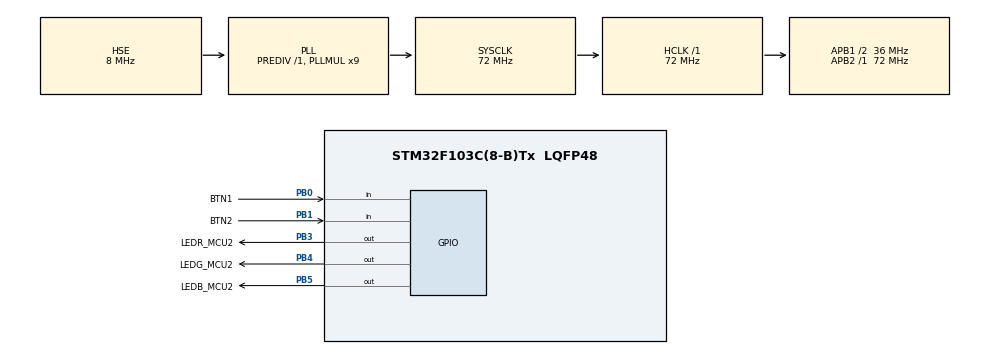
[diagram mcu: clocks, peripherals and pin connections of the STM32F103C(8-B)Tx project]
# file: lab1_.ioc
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Mcu.Family=STM32F1
Mcu.Name=STM32F103C(8-B)Tx
Mcu.Package=LQFP48
NVIC.PriorityGroup=NVIC_PRIORITYGROUP_4
NVIC.TIM3_IRQn=true\:0\:0\:false\:false\:true\:true\:true\:true
PA13.Mode=Serial_Wire
PA13.Signal=SYS_JTMS-SWDIO
PA14.Mode=Serial_Wire
PA14.Signal=SYS_JTCK-SWCLK
PB0.GPIO_Label=BTN1
PB0.GPIO_PuPd=GPIO_NOPULL
PB0.Signal=GPIO_Input
PB1.GPIO_Label=BTN2
PB1.GPIO_PuPd=GPIO_NOPULL
PB1.Signal=GPIO_Input
PB3.GPIO_Label=LEDR_MCU2
PB3.GPIO_Speed=GPIO_SPEED_FREQ_HIGH
PB3.Signal=GPIO_Output
PB4.GPIO_Label=LEDG_MCU2 
PB4.GPIO_Speed=GPIO_SPEED_FREQ_HIGH
PB4.Signal=GPIO_Output
PB5.GPIO_Label=LEDB_MCU2
PB5.GPIO_Speed=GPIO_SPEED_FREQ_HIGH
PB5.Signal=GPIO_Output
PD0-OSC_IN.Mode=HSE-External-Oscillator
PD0-OSC_IN.Signal=RCC_OSC_IN
PD1-OSC_OUT.Mode=HSE-External-Oscillator
PD1-OSC_OUT.Signal=RCC_OSC_OUT
ProjectManager.HeapSize=0x200
ProjectManager.StackSize=0x400
ProjectManager.TargetToolchain=STM32CubeIDE
RCC.AHBFreq_Value=72000000
RCC.APB1CLKDivider=RCC_HCLK_DIV2
RCC.APB1Freq_Value=36000000
RCC.APB1TimFreq_Value=72000000
RCC.APB2Freq_Value=72000000
RCC.APB2TimFreq_Value=72000000
RCC.HCLKFreq_Value=72000000
RCC.PLLMUL=RCC_PLL_MUL9
RCC.PLLSourceVirtual=RCC_PLLSOURCE_HSE
RCC.SYSCLKFreq_VALUE=72000000
RCC.SYSCLKSource=RCC_SYSCLKSOURCE_PLLCLK
RCC.USBFreq_Value=72000000
TIM3.Period=199
TIM3.Prescaler=31999
VP_TIM3_VS_ClockSourceINT.Mode=Internal
board=custom

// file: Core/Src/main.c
/* USER CODE BEGIN Header */
/**
  ******************************************************************************
  * @file           : main.c
  * @brief          : Main program body
  ******************************************************************************
  * @attention
  *
  * Copyright (c) 2023 STMicroelectronics.
  * All rights reserved.
  *
  * This software is licensed under terms that can be found in the LICENSE file
  * in the root directory of this software component.
  * If no LICENSE file comes with this software, it is provided AS-IS.
  *
  ******************************************************************************
  */
/* USER CODE END Header */
#include "main.h"

/* USER CODE BEGIN PD */
#define MIN_COUNTER 1	// 100ms = 100x1ms (1ms for timer3 interrupt)
#define MAX_COUNTER	20 // 2s = 2000x1ms (1ms for timer3 interrupt)
#define TOTAL_EFFECTS 6
/* USER CODE END PD */

TIM_HandleTypeDef htim3;

/* USER CODE BEGIN PV */
static volatile int number_effect = 0;
static volatile int counter_enable = 0;
static volatile int hold_counter = 0;
static volatile int present_position_counter = 0;
static volatile int present_counter = 10;
/* USER CODE END PV */

void SystemClock_Config(void);
static void MX_GPIO_Init(void);
static void MX_TIM3_Init(void);
/* USER CODE BEGIN PFP */
void SetAllOff(void);
void SetRedOn(void);
void SetGreenOn(void);
void SetBlueOn(void);
void SetAllOn(void);
void SetLedEffect(void);
void Calculate_present_counter(void);
void Calculate_present_counter_1(void);
void HAL_TIM_PeriodElapsedCallback(TIM_HandleTypeDef *htim);
/* USER CODE END PFP */

int main(void)
{

  /* MCU Configuration--------------------------------------------------------*/

  /* Reset of all peripherals, Initializes the Flash interface and the Systick. */
  HAL_Init();

  /* Configure the system clock */
  SystemClock_Config();

  /* Initialize all configured peripherals */
  MX_GPIO_Init();
  MX_TIM3_Init();
  /* USER CODE BEGIN 2 */
  HAL_TIM_Base_Start_IT(&htim3);
  /* USER CODE END 2 */

  /* Infinite loop */
  while (1)
  {
		  while (HAL_GPIO_ReadPin(BTN1_GPIO_Port, BTN1_Pin) == GPIO_PIN_RESET) {
			  counter_enable = 1;
		  }
		  while (HAL_GPIO_ReadPin(BTN2_GPIO_Port, BTN2_Pin) == GPIO_PIN_RESET) {
		  		  counter_enable = 2;
		  	  }
		  if (counter_enable == 1) Calculate_present_counter();
		  if (counter_enable == 2) Calculate_present_counter_1();
		  counter_enable = 0;
  }
}

void SystemClock_Config(void)
{
  RCC_OscInitTypeDef RCC_OscInitStruct = {0};
  RCC_ClkInitTypeDef RCC_ClkInitStruct = {0};

  /** Initializes the RCC Oscillators according to the specified parameters
  * in the RCC_OscInitTypeDef structure.
  */
  RCC_OscInitStruct.OscillatorType = RCC_OSCILLATORTYPE_HSE;
  RCC_OscInitStruct.HSEState = RCC_HSE_ON;
  RCC_OscInitStruct.HSEPredivValue = RCC_HSE_PREDIV_DIV1;
  RCC_OscInitStruct.HSIState = RCC_HSI_ON;
  RCC_OscInitStruct.PLL.PLLState = RCC_PLL_ON;
  RCC_OscInitStruct.PLL.PLLSource = RCC_PLLSOURCE_HSE;
  RCC_OscInitStruct.PLL.PLLMUL = RCC_PLL_MUL9;
  if (HAL_RCC_OscConfig(&RCC_OscInitStruct) != HAL_OK)
  {
    Error_Handler();
  }

  /** Initializes the CPU, AHB and APB buses clocks
  */
  RCC_ClkInitStruct.ClockType = RCC_CLOCKTYPE_HCLK|RCC_CLOCKTYPE_SYSCLK
                              |RCC_CLOCKTYPE_PCLK1|RCC_CLOCKTYPE_PCLK2;
  RCC_ClkInitStruct.SYSCLKSource = RCC_SYSCLKSOURCE_PLLCLK;
  RCC_ClkInitStruct.AHBCLKDivider = RCC_SYSCLK_DIV1;
  RCC_ClkInitStruct.APB1CLKDivider = RCC_HCLK_DIV2;
  RCC_ClkInitStruct.APB2CLKDivider = RCC_HCLK_DIV1;

  if (HAL_RCC_ClockConfig(&RCC_ClkInitStruct, FLASH_LATENCY_2) != HAL_OK)
  {
    Error_Handler();
  }
}

static void MX_TIM3_Init(void)
{

  TIM_ClockConfigTypeDef sClockSourceConfig = {0};
  TIM_MasterConfigTypeDef sMasterConfig = {0};

  htim3.Instance = TIM3;
  htim3.Init.Prescaler = 31999;
  htim3.Init.CounterMode = TIM_COUNTERMODE_UP;
  htim3.Init.Period = 199;
  htim3.Init.ClockDivision = TIM_CLOCKDIVISION_DIV1;
  htim3.Init.AutoReloadPreload = TIM_AUTORELOAD_PRELOAD_DISABLE;
  if (HAL_TIM_Base_Init(&htim3) != HAL_OK)
  {
    Error_Handler();
  }
  sClockSourceConfig.ClockSource = TIM_CLOCKSOURCE_INTERNAL;
  if (HAL_TIM_ConfigClockSource(&htim3, &sClockSourceConfig) != HAL_OK)
  {
    Error_Handler();
  }
  sMasterConfig.MasterOutputTrigger = TIM_TRGO_RESET;
  sMasterConfig.MasterSlaveMode = TIM_MASTERSLAVEMODE_DISABLE;
  if (HAL_TIMEx_MasterConfigSynchronization(&htim3, &sMasterConfig) != HAL_OK)
  {
    Error_Handler();
  }

}

static void MX_GPIO_Init(void)
{
  GPIO_InitTypeDef GPIO_InitStruct = {0};

  /* GPIO Ports Clock Enable */
  __HAL_RCC_GPIOD_CLK_ENABLE();
  __HAL_RCC_GPIOB_CLK_ENABLE();
  __HAL_RCC_GPIOA_CLK_ENABLE();

  /*Configure GPIO pin Output Level */
  HAL_GPIO_WritePin(GPIOB, LEDR_MCU2_Pin|LEDG_MCU2_Pin|LEDB_MCU2_Pin, GPIO_PIN_RESET);

  /*Configure GPIO pins : BTN1_Pin BTN2_Pin */
  GPIO_InitStruct.Pin = BTN1_Pin|BTN2_Pin;
  GPIO_InitStruct.Mode = GPIO_MODE_INPUT;
  GPIO_InitStruct.Pull = GPIO_NOPULL;
  HAL_GPIO_Init(GPIOB, &GPIO_InitStruct);

  /*Configure GPIO pins : LEDR_MCU2_Pin LEDG_MCU2_Pin LEDB_MCU2_Pin */
  GPIO_InitStruct.Pin = LEDR_MCU2_Pin|LEDG_MCU2_Pin|LEDB_MCU2_Pin;
  GPIO_InitStruct.Mode = GPIO_MODE_OUTPUT_PP;
  GPIO_InitStruct.Pull = GPIO_NOPULL;
  GPIO_InitStruct.Speed = GPIO_SPEED_FREQ_HIGH;
  HAL_GPIO_Init(GPIOB, &GPIO_InitStruct);

}

/* USER CODE BEGIN 4 */
void SetAllOff(void)
{
		HAL_GPIO_WritePin(GPIOB,LEDR_MCU2_Pin, GPIO_PIN_SET);
		HAL_GPIO_WritePin(GPIOB,LEDG_MCU2_Pin, GPIO_PIN_SET);
		HAL_GPIO_WritePin(GPIOB,LEDB_MCU2_Pin, GPIO_PIN_SET);
}

void SetRedOn(void)
{
	HAL_GPIO_WritePin(GPIOB,LEDR_MCU2_Pin, GPIO_PIN_RESET);
	HAL_GPIO_WritePin(GPIOB,LEDG_MCU2_Pin, GPIO_PIN_RESET);
}

void SetGreenOn(void)
{
	HAL_GPIO_WritePin(GPIOB,LEDG_MCU2_Pin, GPIO_PIN_RESET);
	HAL_GPIO_WritePin(GPIOB,LEDB_MCU2_Pin, GPIO_PIN_RESET);
}

void SetBlueOn(void)
{
	HAL_GPIO_WritePin(GPIOB,LEDB_MCU2_Pin, GPIO_PIN_RESET);
	HAL_GPIO_WritePin(GPIOB,LEDR_MCU2_Pin, GPIO_PIN_RESET);
}

void SetAllOn(void)
{
	SetRedOn();
	SetGreenOn();
	SetBlueOn();
}

void SetLedEffect(void)
{
	switch (number_effect) {
		 case 1:
			 SetRedOn();
			 break;
		 case 3:
			 SetGreenOn();
			 break;
		 case 5:
			 SetBlueOn();
			 break;
		 default:
			 SetAllOff();
		 }
	if(number_effect++ >= TOTAL_EFFECTS - 1) {
				 number_effect = 0;
			 }
}

void Calculate_present_counter(void)
{
	if (hold_counter > 1) {
		if (hold_counter < 5) {
			present_counter -= 1;
		}
		else {
			present_counter -= (hold_counter - 5) / 2;
		}

		if (present_counter <= 0) {
			present_counter = MAX_COUNTER;
		}
		present_position_counter = 0;
		hold_counter = 0;
	}
}

void Calculate_present_counter_1(void)
{
	if (hold_counter > 1) {
		if (hold_counter < 5) {
			number_effect++;
		}
		else {
			present_counter += (hold_counter - 5) / 2;
		}

		if (present_counter > MAX_COUNTER) {
			present_counter = MIN_COUNTER;
		}
		present_position_counter = 0;
		hold_counter = 0;
	}
}

void HAL_TIM_PeriodElapsedCallback(TIM_HandleTypeDef *htim)
{
 //Check which version of the timer triggered this callback and toggle LED
 if (htim == &htim3 )
 {
	 // Change led effect
	 if (present_position_counter == present_counter && counter_enable == 0) {
		 SetLedEffect();
	 }
	 // Hold button handle
	 if (counter_enable) {
		 hold_counter++;
	 }
	 else {
		 if (present_position_counter++ >= present_counter) {
			 present_position_counter = 0;
		 }
	 }
 }
}
/* USER CODE END 4 */

void Error_Handler(void)
{
  __disable_irq();
  while (1)
  {
  }
}
